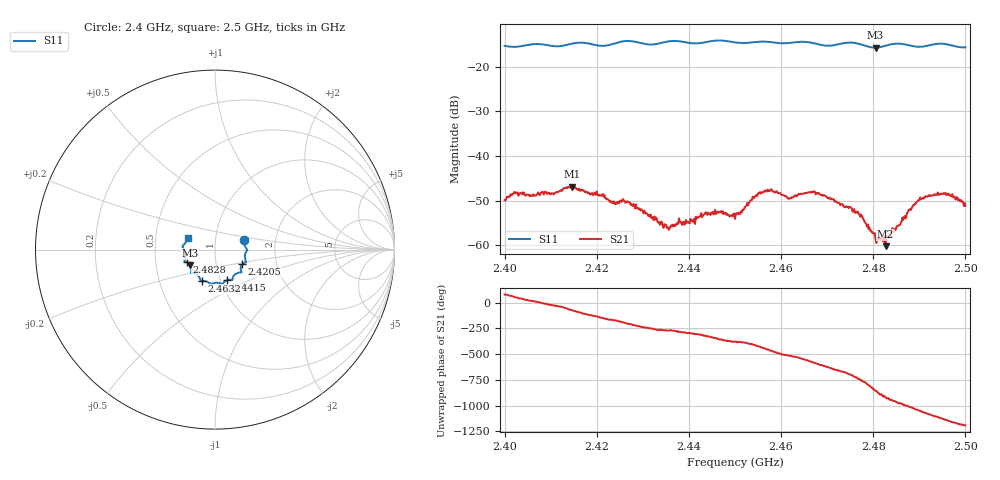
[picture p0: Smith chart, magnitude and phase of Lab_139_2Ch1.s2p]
# Hz S RI R 50
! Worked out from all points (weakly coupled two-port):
!   601 points, 2.4 GHz to 2.5 GHz, reference 50 ohm
!   highest |S21| = -46.90 dB at 2.4147 GHz (marker M1); lowest = -60.2 dB at 2.4827 GHz (marker M2)
!   lowest |S11| = -15.7 dB at 2.4805 GHz (marker M3), VSWR 1.39, Z = 37.3 - j6.67 ohm
!   |S11| at or under -10 dB: start of sweep to end of sweep
!   S12 and S22 are empty: the file has one direction only
!   S11 on the Smith chart (normalised r, x): 2.4 GHz: 1.38, +0.15; 2.4205 GHz: 1.34, -0.23; 2.4415 GHz: 1.07, -0.38; 2.4632 GHz: 0.82, -0.29; 2.4828 GHz: 0.72, -0.10; 2.5 GHz: 0.73, +0.10
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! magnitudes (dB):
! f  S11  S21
! 2.4 GHz  -15.3  -49.9
! 2.4023 GHz  -15.5  -48.4
! 2.4147 GHz  -14.8  -46.9
! 2.4167 GHz  -14.6  -47.6
! 2.4205 GHz  -15.3  -48.9
! 2.427 GHz  -14.2  -50.4
! 2.4333 GHz  -14.8  -54.9
! 2.4357 GHz  -14.3  -56.6
! 2.4415 GHz  -14.8  -53.6
! 2.45 GHz  -14.5  -54.1
! 2.4565 GHz  -14.4  -47.7
! 2.4632 GHz  -14.5  -48.8
! 2.4667 GHz  -14.6  -48.1
! 2.4753 GHz  -14.6  -51.8
! 2.4805 GHz  -15.7  -58.7
! 2.4827 GHz  -15.3  -60.2
! 2.4828 GHz  -15.2  -57.9
! 2.4833 GHz  -15.1  -58.4
! 2.4892 GHz  -15.5  -50.7
! 2.4917 GHz  -15.3  -49.2
! 2.496 GHz  -15.0  -48.4
! 2.5 GHz  -15.6  -51.2
